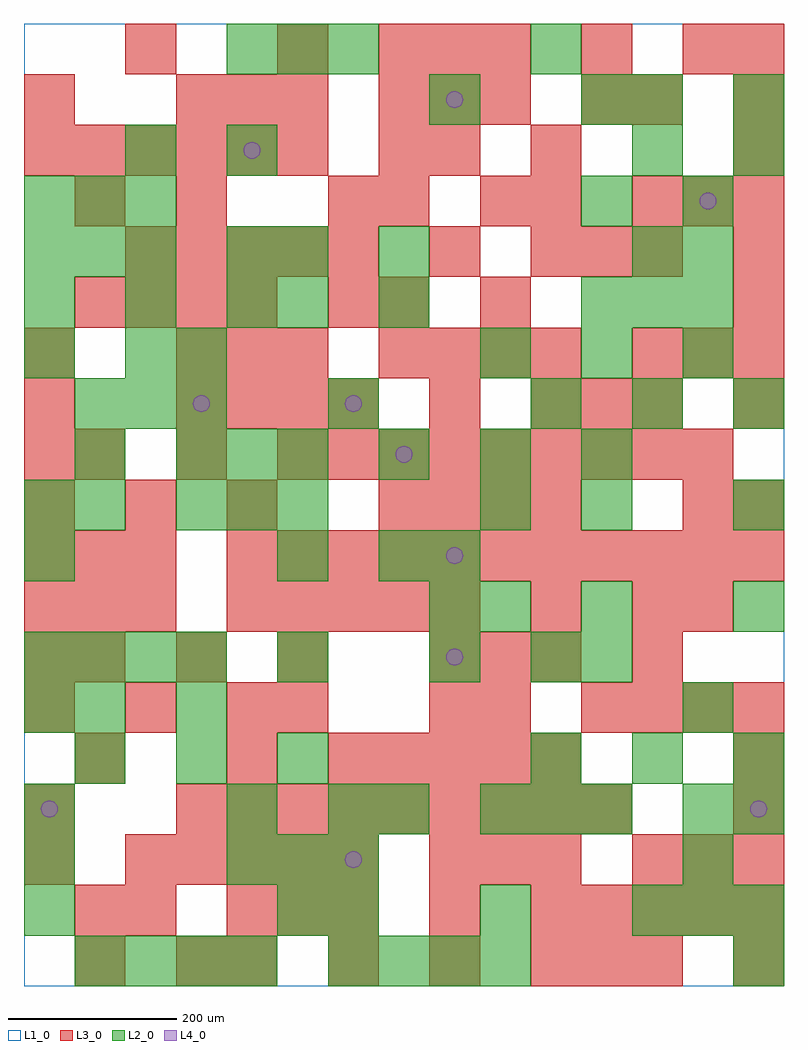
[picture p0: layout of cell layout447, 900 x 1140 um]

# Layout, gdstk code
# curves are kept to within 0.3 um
import gdstk
lib = gdstk.Library(unit=1e-6, precision=1e-09)
def R(c, l, rs):  # rectangles x0, y0, x1, y1
    for r in rs: c.add(gdstk.rectangle(r[:2], r[2:], *l))
def A(c, l, x, y, w, h, nx, ny, dx, dy):  # array of equal rectangles
    R(c, l, [(x+i*dx, y+j*dy, x+i*dx+w, y+j*dy+h) for i in range(nx) for j in range(ny)])
def P(c, l, *ps):  # polygons
    for p in ps: c.add(gdstk.Polygon(p, *l))
L1_0 = (1, 0)
L2_0 = (2, 0)
L3_0 = (3, 0)
L4_0 = (4, 0)

layout447 = lib.new_cell('layout447')
R(layout447, L1_0, [(0,0,900,1140)])
A(layout447, L2_0, 60, 0, 60, 60, 4, 1, 60, 0)
A(layout447, L2_0, 360, 0, 60, 60, 4, 1, 60, 0)
A(layout447, L2_0, 0, 60, 60, 60, 1, 3, 0, 60)
A(layout447, L2_0, 360, 60, 60, 60, 3, 1, 180, 0)
A(layout447, L2_0, 780, 60, 60, 60, 1, 3, 0, 60)
A(layout447, L2_0, 240, 120, 60, 60, 3, 2, 60, 960)
A(layout447, L2_0, 420, 180, 60, 60, 1, 3, 0, 300)
A(layout447, L2_0, 540, 180, 60, 60, 3, 1, 60, 0)
A(layout447, L2_0, 60, 240, 60, 60, 3, 1, 120, 0)
A(layout447, L2_0, 600, 240, 60, 60, 3, 2, 120, 420)
A(layout447, L2_0, 0, 360, 60, 60, 4, 1, 60, 0)
A(layout447, L2_0, 480, 360, 60, 60, 1, 3, 0, 60)
A(layout447, L2_0, 180, 540, 60, 60, 3, 2, 60, 60)
A(layout447, L2_0, 420, 600, 60, 60, 3, 1, 120, 0)
A(layout447, L2_0, 60, 660, 60, 60, 3, 1, 60, 0)
A(layout447, L2_0, 540, 720, 60, 60, 3, 1, 120, 0)
A(layout447, L2_0, 0, 780, 60, 60, 3, 1, 120, 0)
A(layout447, L2_0, 660, 780, 60, 60, 3, 1, 60, 0)
A(layout447, L2_0, 0, 840, 60, 60, 3, 2, 60, 60)
R(layout447, L2_0, [(840,0,900,60), (300,60,360,120), (840,60,900,120), (240,180,300,240), (360,180,420,240), (840,180,900,240), (0,300,60,360), (60,300,120,360), (180,300,240,360), (780,300,840,360), (300,360,360,420), (600,360,660,420), (660,360,720,420), (540,420,600,480), (660,420,720,480), (840,420,900,480), (0,480,60,540), (300,480,360,540), (0,540,60,600), (60,540,120,600), (540,540,600,600), (660,540,720,600), (840,540,900,600), (60,600,120,660), (360,660,420,720), (0,720,60,780), (120,720,180,780), (180,720,240,780), (300,780,360,840), (240,840,300,900), (300,840,360,900), (420,840,480,900), (720,840,780,900), (780,840,840,900), (660,900,720,960), (780,900,840,960), (120,960,180,1020), (240,960,300,1020), (720,960,780,1020), (840,960,900,1020), (480,1020,540,1080), (660,1020,720,1080), (720,1020,780,1080), (840,1020,900,1080), (600,1080,660,1140)])
A(layout447, L3_0, 240, 0, 60, 60, 4, 1, 120, 0)
A(layout447, L3_0, 240, 60, 60, 60, 3, 1, 60, 0)
A(layout447, L3_0, 600, 60, 60, 60, 5, 1, 60, 0)
A(layout447, L3_0, 120, 120, 60, 60, 5, 2, 60, 720)
A(layout447, L3_0, 480, 120, 60, 60, 3, 2, 60, 240)
A(layout447, L3_0, 720, 120, 60, 60, 3, 2, 60, 600)
A(layout447, L3_0, 180, 180, 60, 60, 9, 1, 60, 0)
A(layout447, L3_0, 360, 240, 60, 60, 5, 1, 60, 0)
A(layout447, L3_0, 0, 300, 60, 60, 3, 2, 120, 240)
A(layout447, L3_0, 660, 300, 60, 60, 4, 1, 60, 0)
A(layout447, L3_0, 60, 360, 60, 60, 3, 2, 120, 240)
A(layout447, L3_0, 0, 420, 60, 60, 3, 2, 60, 60)
A(layout447, L3_0, 240, 420, 60, 60, 5, 1, 60, 0)
A(layout447, L3_0, 240, 480, 60, 60, 11, 1, 60, 0)
A(layout447, L3_0, 420, 540, 60, 60, 4, 2, 60, 180)
A(layout447, L3_0, 840, 540, 60, 60, 1, 3, 0, 120)
A(layout447, L3_0, 0, 600, 60, 60, 1, 3, 0, 60)
A(layout447, L3_0, 360, 600, 60, 60, 8, 1, 60, 0)
A(layout447, L3_0, 180, 660, 60, 60, 4, 1, 60, 0)
A(layout447, L3_0, 600, 660, 60, 60, 3, 2, 60, 180)
A(layout447, L3_0, 180, 720, 60, 60, 3, 2, 60, 300)
A(layout447, L3_0, 60, 780, 60, 60, 4, 1, 60, 0)
A(layout447, L3_0, 720, 900, 60, 60, 3, 1, 60, 0)
A(layout447, L3_0, 0, 960, 60, 60, 6, 1, 60, 0)
A(layout447, L3_0, 840, 960, 60, 60, 1, 3, 0, 60)
A(layout447, L3_0, 420, 1020, 60, 60, 3, 2, 60, 60)
R(layout447, L3_0, [(60,0,120,60), (180,0,240,60), (660,0,720,60), (720,0,780,60), (840,0,900,60), (60,60,120,120), (120,60,180,120), (480,60,540,120), (0,120,60,180), (0,180,60,240), (840,180,900,240), (60,240,120,300), (240,240,300,300), (840,240,900,300), (300,300,360,360), (480,300,540,360), (540,300,600,360), (0,360,60,420), (720,360,780,420), (600,420,660,480), (720,420,780,480), (780,420,840,480), (780,540,840,600), (480,660,540,720), (360,780,420,840), (420,780,480,840), (540,780,600,840), (480,840,540,900), (840,840,900,900), (60,900,120,960), (180,900,240,960), (360,900,420,960), (420,900,480,960), (540,900,600,960), (600,900,660,960), (420,960,480,1020), (480,960,540,1020), (600,960,660,1020), (0,1020,60,1080), (660,1020,720,1080), (720,1020,780,1080), (120,1080,180,1140), (300,1080,360,1140), (660,1080,720,1140), (780,1080,840,1140)])
P(layout447, L4_0, [(40,210),(39.239,213.827),(37.071,217.071),(33.827,219.239),(30,220),(26.173,219.239),(22.929,217.071),(20.761,213.827),(20,210),(20.761,206.173),(22.929,202.929),(26.173,200.761),(30,200),(33.827,200.761),(37.071,202.929),(39.239,206.173)],
  [(220,690),(219.239,693.827),(217.071,697.071),(213.827,699.239),(210,700),(206.173,699.239),(202.929,697.071),(200.761,693.827),(200,690),(200.761,686.173),(202.929,682.929),(206.173,680.761),(210,680),(213.827,680.761),(217.071,682.929),(219.239,686.173)],
  [(280,990),(279.239,993.827),(277.071,997.071),(273.827,999.239),(270,1000),(266.173,999.239),(262.929,997.071),(260.761,993.827),(260,990),(260.761,986.173),(262.929,982.929),(266.173,980.761),(270,980),(273.827,980.761),(277.071,982.929),(279.239,986.173)],
  [(400,150),(399.239,153.827),(397.071,157.071),(393.827,159.239),(390,160),(386.173,159.239),(382.929,157.071),(380.761,153.827),(380,150),(380.761,146.173),(382.929,142.929),(386.173,140.761),(390,140),(393.827,140.761),(397.071,142.929),(399.239,146.173)],
  [(400,690),(399.239,693.827),(397.071,697.071),(393.827,699.239),(390,700),(386.173,699.239),(382.929,697.071),(380.761,693.827),(380,690),(380.761,686.173),(382.929,682.929),(386.173,680.761),(390,680),(393.827,680.761),(397.071,682.929),(399.239,686.173)],
  [(460,630),(459.239,633.827),(457.071,637.071),(453.827,639.239),(450,640),(446.173,639.239),(442.929,637.071),(440.761,633.827),(440,630),(440.761,626.173),(442.929,622.929),(446.173,620.761),(450,620),(453.827,620.761),(457.071,622.929),(459.239,626.173)],
  [(520,390),(519.239,393.827),(517.071,397.071),(513.827,399.239),(510,400),(506.173,399.239),(502.929,397.071),(500.761,393.827),(500,390),(500.761,386.173),(502.929,382.929),(506.173,380.761),(510,380),(513.827,380.761),(517.071,382.929),(519.239,386.173)],
  [(520,510),(519.239,513.827),(517.071,517.071),(513.827,519.239),(510,520),(506.173,519.239),(502.929,517.071),(500.761,513.827),(500,510),(500.761,506.173),(502.929,502.929),(506.173,500.761),(510,500),(513.827,500.761),(517.071,502.929),(519.239,506.173)],
  [(520,1050),(519.239,1053.827),(517.071,1057.071),(513.827,1059.239),(510,1060),(506.173,1059.239),(502.929,1057.071),(500.761,1053.827),(500,1050),(500.761,1046.173),(502.929,1042.929),(506.173,1040.761),(510,1040),(513.827,1040.761),(517.071,1042.929),(519.239,1046.173)],
  [(820,930),(819.239,933.827),(817.071,937.071),(813.827,939.239),(810,940),(806.173,939.239),(802.929,937.071),(800.761,933.827),(800,930),(800.761,926.173),(802.929,922.929),(806.173,920.761),(810,920),(813.827,920.761),(817.071,922.929),(819.239,926.173)],
  [(880,210),(879.239,213.827),(877.071,217.071),(873.827,219.239),(870,220),(866.173,219.239),(862.929,217.071),(860.761,213.827),(860,210),(860.761,206.173),(862.929,202.929),(866.173,200.761),(870,200),(873.827,200.761),(877.071,202.929),(879.239,206.173)])

lib.write_gds('layout447.gds')
